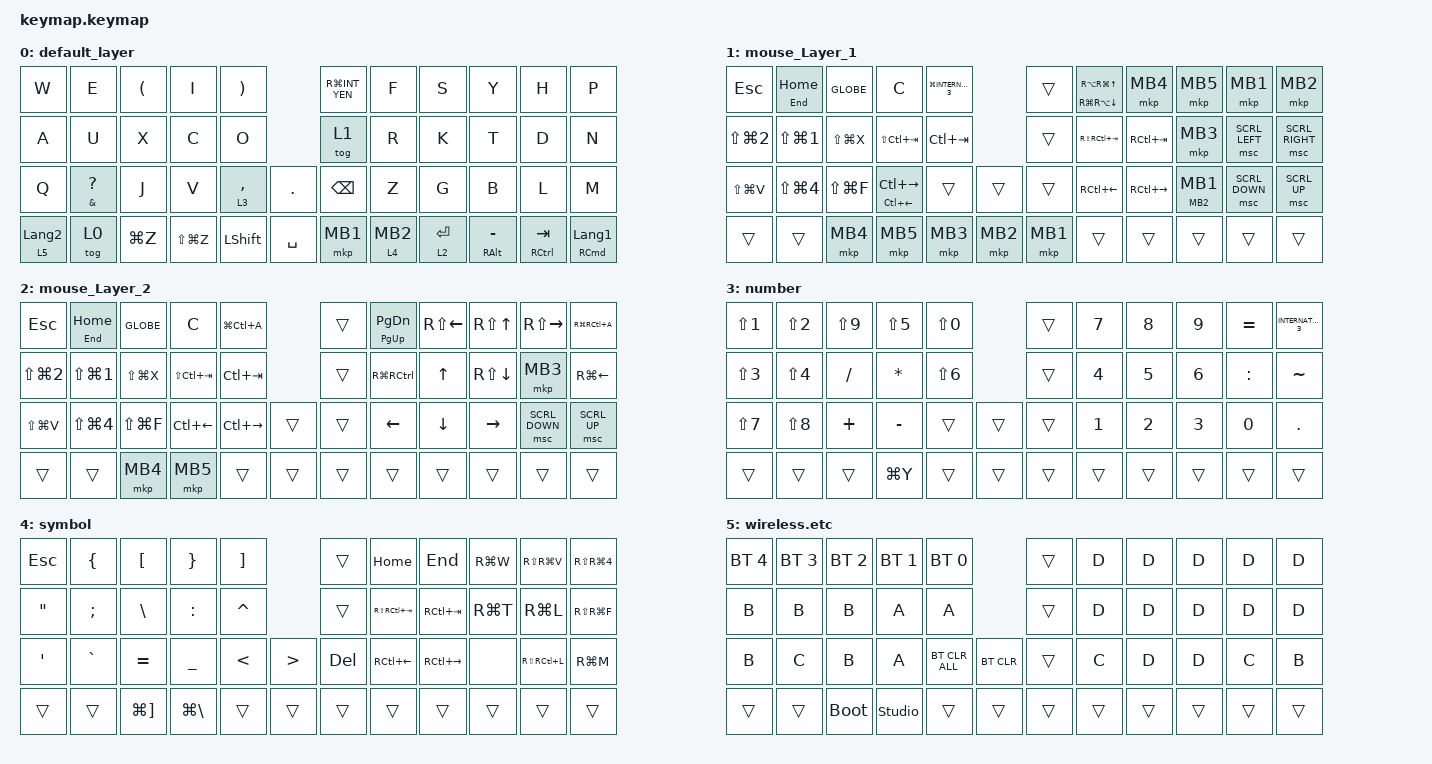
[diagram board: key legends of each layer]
#include <input/processors.dtsi>
#include <behaviors.dtsi>
#include <dt-bindings/zmk/bt.h>
#include <dt-bindings/zmk/keys.h>
#include <dt-bindings/zmk/pointing.h>

/* レイヤー番号の定義 */

#define DEFAULT 0
#define SCROLL  1
#define LAYER2  2
#define LAYER3  3
#define NUMBER  4
#define SYMBOL  5
#define WIRELESS 6
#define LAYER7  7

/ {
    /* トラックボールの挙動を制御するリスナー */

    trackball_listener {
        compatible = "zmk,input-listener";
        device = <&trackball_split>;

        /* スクロールレイヤー(SCROLL)が有効な時だけ発動する処理 */

        scroll {
            layers = <SCROLL>;
            input-processors = <&zip_xy_to_scroll_mapper>;
        };
    };

    behaviors {
        mky_L: mouse_Layer_behavior {
            compatible = "zmk,behavior-hold-tap";
            label = "MOUSE_LAYER_BEHAVIOR";
            bindings = <&mo>, <&mkp>;

            #binding-cells = <2>;
            hold-trigger-key-positions = <41>;
            quick-tap-ms = <(-1)>;
            require-prior-idle-ms = <(-1)>;
            tapping-term-ms = <200>;
        };

        mky_H_T: mousekey_hold_tap {
            compatible = "zmk,behavior-hold-tap";
            label = "MOUSEKEY_HOLD_TAP";
            bindings = <&mkp>, <&mkp>;

            #binding-cells = <2>;
            tapping-term-ms = <200>;
        };
    };

    combos { compatible = "zmk,combos"; };

    keymap {
        compatible = "zmk,keymap";

        default_layer {
            bindings = <
&kp W             &kp E                   &kp LEFT_PARENTHESIS  &kp I          &kp RIGHT_PARENTHESIS                                      &kp RG(INT_YEN)  &kp F  &kp S  &kp Y                &kp H                  &kp P
&kp A             &kp U                   &kp X                 &kp C          &kp O                                                      &tog 1           &kp R  &kp K  &kp T                &kp D                  &kp N
&kp Q             &mt AMPERSAND QUESTION  &kp J                 &kp V          &lt 3 COMMA            &kp PERIOD                          &kp BACKSPACE    &kp Z  &kp G  &kp B                &kp L                  &kp M
&lt 5 LANGUAGE_2  &tog 0                  &kp LG(Z)             &kp LS(LG(Z))  &kp LEFT_SHIFT         &kp SPACE   &mkp MB1  &mky_L 4 MB2  &lt 2 ENTER                    &mt RIGHT_ALT MINUS  &mt RIGHT_CONTROL TAB  &mt RIGHT_COMMAND LANGUAGE_1
            >;
        };

        mouse_Layer_1 {
            bindings = <
&kp ESCAPE            &mt END HOME          &kp GLOBE      &kp C                   &kp LG(INTERNATIONAL_3)                              &trans  &mt RG(RA(DOWN)) RA(RG(UP))  &mkp MB4       &mkp MB5          &mkp MB1        &mkp MB2
&kp LS(LG(NUMBER_2))  &kp LS(LG(NUMBER_1))  &kp LS(LG(X))  &kp LS(LC(TAB))         &kp LC(TAB)                                          &trans  &kp RS(RC(TAB))              &kp RC(TAB)    &mkp MB3          &msc SCRL_LEFT  &msc SCRL_RIGHT
&kp LS(LG(V))         &kp LS(LG(NUMBER_4))  &kp LS(LG(F))  &mt LC(LEFT) LC(RIGHT)  &trans                   &trans                      &trans  &kp RC(LEFT)                 &kp RC(RIGHT)  &mky_H_T MB2 MB1  &msc SCRL_DOWN  &msc SCRL_UP
&trans                &trans                &mkp MB4       &mkp MB5                &mkp MB3                 &mkp MB2  &mkp MB1  &trans  &trans                                              &trans            &trans          &trans
            >;
        };

        mouse_Layer_2 {
            bindings = <
&kp ESCAPE            &mt END HOME          &kp GLOBE      &kp C            &kp LG(LC(A))                          &trans  &mt PAGE_UP PAGE_DOWN  &kp RS(LEFT)  &kp RS(UP)    &kp RS(RIGHT)   &kp RG(RC(A))
&kp LS(LG(NUMBER_2))  &kp LS(LG(NUMBER_1))  &kp LS(LG(X))  &kp LS(LC(TAB))  &kp LC(TAB)                            &trans  &kp RG(RIGHT_CONTROL)  &kp UP        &kp RS(DOWN)  &mkp MB3        &kp RG(LEFT)
&kp LS(LG(V))         &kp LS(LG(NUMBER_4))  &kp LS(LG(F))  &kp LC(LEFT)     &kp LC(RIGHT)  &trans                  &trans  &kp LEFT               &kp DOWN      &kp RIGHT     &msc SCRL_DOWN  &msc SCRL_UP
&trans                &trans                &mkp MB4       &mkp MB5         &trans         &trans  &trans  &trans  &trans                                       &trans        &trans          &trans
            >;
        };

        number {
            bindings = <
&kp LS(NUMBER_1)  &kp LS(NUMBER_2)  &kp LS(NUMBER_9)  &kp LS(NUMBER_5)  &kp LS(NUMBER_0)                          &trans  &kp NUMBER_7  &kp NUMBER_8  &kp NUMBER_9  &kp EQUAL     &kp INTERNATIONAL_3
&kp LS(NUMBER_3)  &kp LS(NUMBER_4)  &kp SLASH         &kp ASTERISK      &kp LS(NUMBER_6)                          &trans  &kp NUMBER_4  &kp NUMBER_5  &kp NUMBER_6  &kp COLON     &kp TILDE
&kp LS(NUMBER_7)  &kp LS(NUMBER_8)  &kp PLUS          &kp MINUS         &trans            &trans                  &trans  &kp NUMBER_1  &kp NUMBER_2  &kp NUMBER_3  &kp NUMBER_0  &kp PERIOD
&trans            &trans            &trans            &kp LG(Y)         &trans            &trans  &trans  &trans  &trans                              &trans        &trans        &trans
            >;
        };

        symbol {
            bindings = <
&kp ESCAPE         &kp LEFT_BRACE  &kp LEFT_BRACKET       &kp RIGHT_BRACE    &kp RIGHT_BRACKET                                    &trans      &kp HOME         &kp END        &kp RG(W)  &kp RS(RG(V))  &kp RS(RG(NUMBER_4))
&kp DOUBLE_QUOTES  &kp SEMICOLON   &kp BACKSLASH          &kp COLON          &kp CARET                                            &trans      &kp RS(RC(TAB))  &kp RC(TAB)    &kp RG(T)  &kp RG(L)      &kp RS(RG(F))
&kp SQT            &kp GRAVE       &kp EQUAL              &kp UNDERSCORE     &kp LESS_THAN      &kp GREATER_THAN                  &kp DELETE  &kp RC(LEFT)     &kp RC(RIGHT)  &none      &kp RS(RC(L))  &kp RG(M)
&trans             &trans          &kp LG(RIGHT_BRACKET)  &kp LG(BACKSLASH)  &trans             &trans            &trans  &trans  &trans                                      &trans     &trans         &trans
            >;
        };

        wireless.etc {
            bindings = <
&bt BT_SEL 4  &bt BT_SEL 3  &bt BT_SEL 2  &bt BT_SEL 1    &bt BT_SEL 0                                &trans  &kp D  &kp D  &kp D   &kp D   &kp D
&kp B         &kp B         &kp B         &kp A           &kp A                                       &trans  &kp D  &kp D  &kp D   &kp D   &kp D
&kp B         &kp C         &kp B         &kp A           &bt BT_CLR_ALL  &bt BT_CLR                  &trans  &kp C  &kp D  &kp D   &kp C   &kp B
&trans        &trans        &bootloader   &studio_unlock  &trans          &trans      &trans  &trans  &trans                &trans  &trans  &trans
            >;
        };
    };
};
